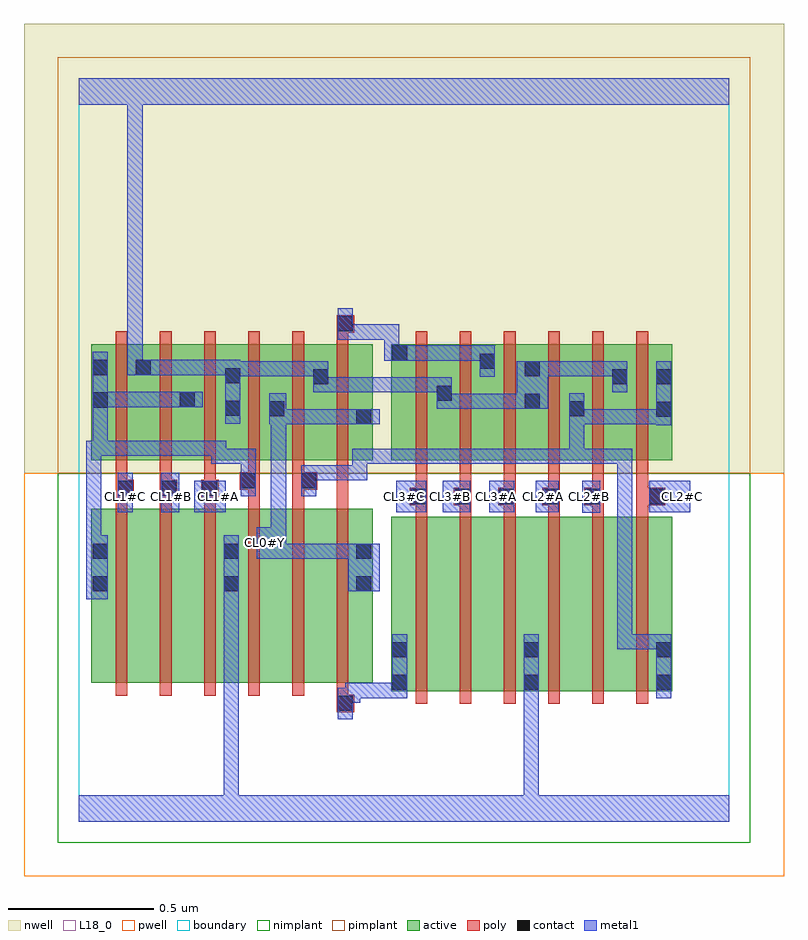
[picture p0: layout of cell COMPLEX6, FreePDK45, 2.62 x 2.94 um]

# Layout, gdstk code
import gdstk
lib = gdstk.Library(unit=1e-6, precision=1e-09)
def R(c, l, rs):  # rectangles x0, y0, x1, y1
    for r in rs: c.add(gdstk.rectangle(r[:2], r[2:], *l))
def A(c, l, x, y, w, h, nx, ny, dx, dy):  # array of equal rectangles
    R(c, l, [(x+i*dx, y+j*dy, x+i*dx+w, y+j*dy+h) for i in range(nx) for j in range(ny)])
active = (1, 0)
pwell = (2, 0)
nwell = (3, 0)
nimplant = (4, 0)
pimplant = (5, 0)
poly = (9, 0)
contact = (10, 0)
metal1 = (11, 0)
L18_0 = (18, 0)
boundary = (235, 0)

complex6 = lib.new_cell('COMPLEX6')
A(complex6, active, 0.5, 1.244, 0.06, 0.4, 3, 1, 0.152, 0)
R(complex6, active, [(1.076,0.45,1.136,1.05), (1.076,0.45,1.256,1.05), (1.256,0.45,1.408,1.05), (1.408,0.45,1.588,1.05), (1.528,0.45,1.588,1.05), (1.528,0.45,1.712,1.05), (1.712,0.45,1.864,1.05), (1.864,0.45,2.044,1.05), (1.984,0.45,2.044,1.05), (0.044,0.478,0.104,1.078), (0.044,0.478,0.224,1.078), (0.224,0.478,0.376,1.078), (0.376,0.478,0.556,1.078), (0.496,0.478,0.68,1.078), (0.496,0.478,0.556,0.962), (0.68,0.478,0.832,1.078), (0.832,0.478,1.012,1.078), (0.952,0.478,1.012,1.078), (0.044,1.244,0.104,1.644), (0.044,1.244,0.252,1.644), (0.192,1.244,0.252,1.644), (0.192,1.244,0.404,1.644), (0.344,1.244,0.404,1.644), (0.344,1.244,0.56,1.644), (0.5,1.244,0.712,1.644), (0.652,1.244,0.864,1.644), (0.804,1.244,1.012,1.644), (0.952,1.244,1.012,1.644), (1.076,1.244,1.288,1.644), (1.228,1.244,1.288,1.644), (1.228,1.244,1.436,1.644), (1.376,1.244,1.436,1.644), (1.376,1.244,1.592,1.644), (1.532,1.244,1.592,1.644), (1.532,1.244,1.744,1.644), (1.684,1.244,1.892,1.644), (1.832,1.244,1.892,1.644), (1.832,1.244,2.044,1.644), (1.984,1.244,2.044,1.644), (1.684,1.392,1.744,1.644), (1.076,1.496,1.136,1.644)])
R(complex6, pwell, [(-0.188,-0.188,2.428,1.2)])
R(complex6, nwell, [(-0.188,1.2,2.428,2.748)])
R(complex6, nimplant, [(-0.072,-0.072,2.312,1.2)])
R(complex6, pimplant, [(-0.072,1.2,2.312,2.632)])
A(complex6, poly, 1.16, 0.406, 0.04, 0.688, 6, 1, 0.152, 0)
A(complex6, poly, 0.128, 0.434, 0.04, 0.688, 6, 1, 0.152, 0)
A(complex6, poly, 1.16, 1.054, 0.04, 0.076, 6, 1, 0.152, 0)
A(complex6, poly, 0.128, 1.082, 0.04, 0.076, 3, 1, 0.152, 0)
A(complex6, poly, 1.14, 1.09, 0.06, 0.06, 4, 1, 0.152, 0)
A(complex6, poly, 1.16, 1.11, 0.04, 0.13, 6, 1, 0.152, 0)
A(complex6, poly, 0.128, 1.138, 0.04, 0.102, 3, 1, 0.152, 0)
A(complex6, poly, 0.584, 1.164, 0.04, 0.076, 3, 1, 0.152, 0)
A(complex6, poly, 0.128, 1.2, 0.04, 0.488, 6, 1, 0.152, 0)
A(complex6, poly, 1.16, 1.2, 0.04, 0.488, 6, 1, 0.152, 0)
R(complex6, poly, [(0.888,0.378,0.948,0.438), (0.888,0.398,0.928,0.474), (0.584,1.082,0.624,1.184), (0.736,1.082,0.776,1.184), (0.888,1.082,0.928,1.204), (1.74,1.09,1.808,1.15), (1.92,1.09,1.96,1.13), (1.92,1.09,1.96,1.13), (1.92,1.09,2.02,1.15), (1.16,1.11,1.2,1.15), (1.16,1.11,1.2,1.15), (1.312,1.11,1.352,1.15), (1.312,1.11,1.352,1.15), (1.464,1.11,1.504,1.15), (1.464,1.11,1.504,1.15), (1.616,1.11,1.656,1.15), (1.616,1.11,1.656,1.15), (1.768,1.11,1.808,1.15), (1.768,1.11,1.808,1.15), (0.128,1.118,0.19,1.178), (0.28,1.118,0.34,1.178), (0.422,1.118,0.482,1.178), (0.128,1.138,0.168,1.178), (0.128,1.138,0.168,1.178), (0.28,1.138,0.32,1.178), (0.28,1.138,0.32,1.178), (0.432,1.138,0.472,1.178), (0.432,1.138,0.472,1.178), (0.554,1.144,0.624,1.204), (0.584,1.144,0.624,1.184), (0.584,1.144,0.624,1.184), (0.736,1.144,0.776,1.184), (0.736,1.144,0.776,1.184), (0.736,1.144,0.822,1.204), (0.888,1.164,0.928,1.204), (0.888,1.164,0.928,1.204), (0.888,1.164,0.928,1.204), (0.888,1.648,0.928,1.724), (0.888,1.684,0.948,1.744)])
A(complex6, contact, 1.144, 1.094, 0.052, 0.052, 4, 1, 0.152, 0)
R(complex6, contact, [(0.892,0.382,0.944,0.434), (1.08,0.454,1.132,0.506), (1.532,0.454,1.584,0.506), (1.988,0.454,2.04,0.506), (1.08,0.566,1.132,0.618), (1.532,0.566,1.584,0.618), (1.988,0.566,2.04,0.618), (0.048,0.794,0.1,0.846), (0.5,0.794,0.552,0.846), (0.956,0.794,1.008,0.846), (0.048,0.906,0.1,0.958), (0.5,0.906,0.552,0.958), (0.956,0.906,1.008,0.958), (1.744,1.094,1.796,1.146), (1.964,1.094,2.016,1.146), (0.134,1.122,0.186,1.174), (0.284,1.122,0.336,1.174), (0.426,1.122,0.478,1.174), (0.558,1.148,0.61,1.2), (0.766,1.148,0.818,1.2), (0.956,1.368,1.008,1.42), (1.988,1.394,2.04,1.446), (0.656,1.396,0.708,1.448), (1.688,1.396,1.74,1.448), (0.504,1.398,0.556,1.45), (1.536,1.422,1.588,1.474), (0.048,1.426,0.1,1.478), (0.348,1.428,0.4,1.48), (1.232,1.45,1.284,1.502), (0.808,1.506,0.86,1.558), (1.836,1.506,1.888,1.558), (1.988,1.506,2.04,1.558), (0.504,1.51,0.556,1.562), (1.536,1.534,1.588,1.586), (0.048,1.538,0.1,1.59), (0.196,1.538,0.248,1.59), (1.38,1.56,1.432,1.612), (1.08,1.588,1.132,1.64), (0.892,1.688,0.944,1.74)])
R(complex6, metal1, [(0,0,2.24,0.092), (0.5,0.04,0.552,0.092), (0.5,0.04,0.552,0.092), (0.5,0.04,0.552,0.818), (1.532,0.04,1.584,0.478), (0.892,0.354,0.944,0.462), (0.892,0.41,0.97,0.462), (0.918,0.41,0.97,0.462), (0.918,0.41,0.97,0.478), (0.918,0.426,0.97,0.478), (0.918,0.426,1.132,0.478), (1.08,0.426,1.132,0.646), (1.532,0.426,1.584,0.478), (1.532,0.426,1.584,0.478), (1.532,0.426,1.584,0.478), (1.532,0.426,1.584,0.478), (1.532,0.426,1.584,0.478), (1.532,0.426,1.584,0.478), (1.532,0.426,1.584,0.478), (1.532,0.426,1.584,0.478), (1.532,0.426,1.584,0.646), (1.988,0.426,2.04,0.646), (1.854,0.594,1.906,0.646), (1.854,0.594,2.04,0.646), (1.854,0.594,1.906,1.284), (1.988,0.594,2.04,0.646), (1.988,0.594,2.04,0.646), (1.988,0.594,2.04,0.646), (1.988,0.594,2.04,0.646), (0.026,0.766,0.1,0.986), (0.5,0.766,0.552,0.818), (0.5,0.766,0.552,0.818), (0.5,0.766,0.552,0.818), (0.5,0.766,0.552,0.818), (0.5,0.766,0.552,0.818), (0.5,0.766,0.552,0.818), (0.5,0.766,0.552,0.986), (0.928,0.794,1.036,0.958), (0.614,0.906,0.714,1.014), (0.662,0.906,0.834,0.958), (0.782,0.906,0.834,0.958), (0.782,0.906,0.834,0.958), (0.782,0.906,0.834,0.958), (0.782,0.906,0.98,0.958), (0.928,0.906,0.98,0.958), (0.928,0.906,0.98,0.958), (0.928,0.906,0.98,0.958), (0.928,0.906,0.98,0.958), (0.026,0.934,0.078,1.312), (0.662,0.962,0.714,1.42), (1.734,1.064,1.796,1.174), (0.134,1.066,0.186,1.202), (0.284,1.066,0.346,1.202), (0.398,1.066,0.506,1.174), (1.094,1.066,1.196,1.174), (1.254,1.066,1.348,1.174), (1.414,1.066,1.5,1.174), (1.574,1.066,1.652,1.174), (1.964,1.066,2.106,1.174), (0.558,1.12,0.61,1.284), (0.766,1.12,0.818,1.228), (0.766,1.176,0.83,1.228), (0.778,1.176,0.83,1.228), (0.778,1.176,0.994,1.228), (0.942,1.176,0.994,1.228), (0.942,1.176,0.994,1.228), (0.942,1.176,0.994,1.284), (0.456,1.232,0.61,1.284), (0.456,1.232,0.508,1.312), (0.942,1.232,1.174,1.284), (1.122,1.232,1.174,1.284), (1.122,1.232,1.174,1.284), (1.122,1.232,1.174,1.284), (1.122,1.232,1.322,1.284), (1.27,1.232,1.322,1.284), (1.27,1.232,1.322,1.284), (1.27,1.232,1.322,1.284), (1.27,1.232,1.45,1.284), (1.398,1.232,1.45,1.284), (1.398,1.232,1.45,1.284), (1.398,1.232,1.45,1.284), (1.398,1.232,1.63,1.284), (1.578,1.232,1.63,1.284), (1.578,1.232,1.63,1.284), (1.578,1.232,1.63,1.284), (1.578,1.232,1.74,1.284), (1.688,1.232,1.74,1.284), (1.688,1.232,1.74,1.284), (1.688,1.232,1.74,1.284), (1.688,1.232,1.906,1.284), (1.688,1.232,1.74,1.42), (1.854,1.232,1.906,1.284), (0.026,1.26,0.078,1.312), (0.026,1.26,0.078,1.312), (0.026,1.26,0.1,1.312), (0.048,1.26,0.1,1.312), (0.048,1.26,0.1,1.312), (0.048,1.26,0.262,1.312), (0.048,1.26,0.1,1.45), (0.21,1.26,0.262,1.312), (0.21,1.26,0.262,1.312), (0.21,1.26,0.262,1.312), (0.21,1.26,0.398,1.312), (0.346,1.26,0.398,1.312), (0.346,1.26,0.5,1.312), (0.448,1.26,0.5,1.312), (0.448,1.26,0.508,1.312), (1.988,1.366,2.04,1.586), (0.656,1.368,0.714,1.476), (0.662,1.368,0.714,1.42), (0.662,1.368,0.714,1.42), (0.662,1.368,0.834,1.42), (0.782,1.368,0.834,1.42), (0.782,1.368,0.834,1.42), (0.782,1.368,0.834,1.42), (0.782,1.368,0.98,1.42), (0.928,1.368,0.98,1.42), (0.928,1.368,0.98,1.42), (0.928,1.368,1.036,1.42), (1.688,1.368,1.74,1.476), (1.688,1.368,1.85,1.42), (1.798,1.368,1.85,1.42), (1.798,1.368,1.85,1.42), (1.798,1.368,1.85,1.42), (1.798,1.368,2.04,1.42), (1.988,1.368,2.04,1.42), (1.988,1.368,2.04,1.42), (0.504,1.37,0.556,1.59), (0.048,1.398,0.1,1.618), (1.232,1.422,1.284,1.474), (1.232,1.422,1.284,1.474), (1.232,1.422,1.284,1.53), (1.232,1.422,1.45,1.474), (1.398,1.422,1.45,1.474), (1.398,1.422,1.45,1.474), (1.398,1.422,1.45,1.474), (1.398,1.422,1.56,1.474), (1.508,1.422,1.616,1.586), (0.048,1.428,0.1,1.48), (0.048,1.428,0.1,1.48), (0.048,1.428,0.262,1.48), (0.21,1.428,0.262,1.48), (0.21,1.428,0.262,1.48), (0.21,1.428,0.262,1.48), (0.21,1.428,0.372,1.48), (0.32,1.428,0.428,1.48), (0.808,1.478,0.86,1.586), (0.808,1.478,0.97,1.53), (0.918,1.478,0.97,1.53), (0.918,1.478,0.97,1.53), (0.918,1.478,0.97,1.53), (0.918,1.478,1.174,1.53), (1.122,1.478,1.174,1.53), (1.122,1.478,1.174,1.53), (1.122,1.478,1.174,1.53), (1.122,1.478,1.174,1.53), (1.122,1.478,1.174,1.53), (1.122,1.478,1.284,1.53), (1.836,1.478,1.888,1.586), (1.38,1.532,1.432,1.64), (0.504,1.534,0.61,1.586), (0.558,1.534,0.61,1.586), (0.558,1.534,0.72,1.586), (0.668,1.534,0.72,1.586), (0.668,1.534,0.72,1.586), (0.668,1.534,0.72,1.586), (0.668,1.534,0.86,1.586), (1.564,1.534,1.616,1.586), (1.564,1.534,1.616,1.586), (1.564,1.534,1.616,1.586), (1.564,1.534,1.616,1.586), (1.564,1.534,1.74,1.586), (1.688,1.534,1.74,1.586), (1.688,1.534,1.888,1.586), (1.836,1.534,1.888,1.586), (1.836,1.534,1.888,1.586), (0.168,1.538,0.22,1.59), (0.168,1.538,0.22,1.59), (0.168,1.538,0.22,1.59), (0.168,1.538,0.22,1.59), (0.168,1.538,0.22,1.59), (0.168,1.538,0.22,1.59), (0.168,1.538,0.22,1.59), (0.168,1.538,0.22,1.59), (0.168,1.538,0.22,1.59), (0.168,1.538,0.22,1.59), (0.168,1.538,0.22,1.59), (0.168,1.538,0.22,1.59), (0.168,1.538,0.276,1.59), (0.168,1.538,0.22,2.52), (0.21,1.538,0.262,1.59), (0.21,1.538,0.262,1.59), (0.21,1.538,0.262,1.59), (0.21,1.538,0.262,1.59), (0.21,1.538,0.262,1.59), (0.21,1.538,0.262,1.59), (0.21,1.538,0.398,1.59), (0.346,1.538,0.398,1.59), (0.346,1.538,0.398,1.59), (0.346,1.538,0.398,1.59), (0.346,1.538,0.556,1.59), (1.052,1.588,1.104,1.712), (1.052,1.588,1.16,1.64), (1.108,1.588,1.16,1.64), (1.108,1.588,1.16,1.64), (1.108,1.588,1.322,1.64), (1.27,1.588,1.322,1.64), (1.27,1.588,1.322,1.64), (1.27,1.588,1.322,1.64), (1.27,1.588,1.432,1.64), (0.892,1.66,0.944,1.768), (0.892,1.66,0.97,1.712), (0.918,1.66,0.97,1.712), (0.918,1.66,1.104,1.712), (1.052,1.66,1.104,1.712), (0,2.468,2.24,2.56), (0.168,2.468,0.22,2.52), (0.168,2.468,0.22,2.52), (0.168,2.468,0.22,2.52), (0.168,2.468,0.22,2.52)])
A(complex6, L18_0, 0.134, 1.094, 0.052, 0.052, 3, 1, 0.16, 0)
A(complex6, L18_0, 1.094, 1.094, 0.052, 0.052, 5, 1, 0.16, 0)
R(complex6, L18_0, [(0,0,2.24,0.092), (0.5,0.04,0.552,0.092), (0.5,0.04,0.552,0.092), (0.5,0.04,0.552,0.818), (1.532,0.04,1.584,0.478), (1.532,0.426,1.584,0.478), (1.532,0.426,1.584,0.478), (1.532,0.426,1.584,0.478), (1.532,0.426,1.584,0.478), (1.532,0.426,1.584,0.478), (1.532,0.426,1.584,0.478), (1.532,0.426,1.584,0.478), (1.532,0.426,1.584,0.478), (1.532,0.426,1.584,0.646), (0.5,0.766,0.552,0.818), (0.5,0.766,0.552,0.818), (0.5,0.766,0.552,0.818), (0.5,0.766,0.552,0.818), (0.5,0.766,0.552,0.818), (0.5,0.766,0.552,0.818), (0.5,0.766,0.552,0.986), (0.928,0.794,1.036,0.958), (0.614,0.906,0.714,1.014), (0.662,0.906,0.834,0.958), (0.782,0.906,0.834,0.958), (0.782,0.906,0.834,0.958), (0.782,0.906,0.834,0.958), (0.782,0.906,0.98,0.958), (0.928,0.906,0.98,0.958), (0.928,0.906,0.98,0.958), (0.928,0.906,0.98,0.958), (0.928,0.906,0.98,0.958), (0.614,0.934,0.666,0.986), (0.662,0.962,0.714,1.42), (1.734,1.064,1.796,1.174), (0.134,1.066,0.186,1.202), (0.284,1.066,0.346,1.202), (0.398,1.066,0.506,1.174), (1.094,1.066,1.196,1.174), (1.254,1.066,1.348,1.174), (1.414,1.066,1.5,1.174), (1.574,1.066,1.652,1.174), (1.964,1.066,2.106,1.174), (2.054,1.094,2.106,1.146), (0.656,1.368,0.714,1.476), (0.662,1.368,0.714,1.42), (0.662,1.368,0.714,1.42), (0.662,1.368,0.834,1.42), (0.782,1.368,0.834,1.42), (0.782,1.368,0.834,1.42), (0.782,1.368,0.834,1.42), (0.782,1.368,0.98,1.42), (0.928,1.368,0.98,1.42), (0.928,1.368,0.98,1.42), (0.928,1.368,1.036,1.42), (0.504,1.37,0.556,1.59), (1.232,1.422,1.284,1.474), (1.232,1.422,1.284,1.474), (1.232,1.422,1.284,1.53), (1.232,1.422,1.45,1.474), (1.398,1.422,1.45,1.474), (1.398,1.422,1.45,1.474), (1.398,1.422,1.45,1.474), (1.398,1.422,1.56,1.474), (1.508,1.422,1.616,1.586), (0.808,1.478,0.97,1.53), (0.808,1.478,0.86,1.586), (0.918,1.478,0.97,1.53), (0.918,1.478,0.97,1.53), (0.918,1.478,0.97,1.53), (0.918,1.478,1.174,1.53), (1.122,1.478,1.174,1.53), (1.122,1.478,1.174,1.53), (1.122,1.478,1.174,1.53), (1.122,1.478,1.174,1.53), (1.122,1.478,1.174,1.53), (1.122,1.478,1.284,1.53), (1.836,1.478,1.888,1.586), (0.504,1.534,0.61,1.586), (0.558,1.534,0.61,1.586), (0.558,1.534,0.72,1.586), (0.668,1.534,0.72,1.586), (0.668,1.534,0.72,1.586), (0.668,1.534,0.72,1.586), (0.668,1.534,0.86,1.586), (1.564,1.534,1.616,1.586), (1.564,1.534,1.616,1.586), (1.564,1.534,1.616,1.586), (1.564,1.534,1.616,1.586), (1.564,1.534,1.74,1.586), (1.688,1.534,1.74,1.586), (1.688,1.534,1.888,1.586), (1.836,1.534,1.888,1.586), (1.836,1.534,1.888,1.586), (0.168,1.538,0.22,1.59), (0.168,1.538,0.22,1.59), (0.168,1.538,0.22,1.59), (0.168,1.538,0.22,1.59), (0.168,1.538,0.22,1.59), (0.168,1.538,0.22,1.59), (0.168,1.538,0.22,1.59), (0.168,1.538,0.22,1.59), (0.168,1.538,0.22,1.59), (0.168,1.538,0.22,1.59), (0.168,1.538,0.22,1.59), (0.168,1.538,0.22,1.59), (0.168,1.538,0.276,1.59), (0.168,1.538,0.22,2.52), (0.21,1.538,0.262,1.59), (0.21,1.538,0.262,1.59), (0.21,1.538,0.262,1.59), (0.21,1.538,0.262,1.59), (0.21,1.538,0.262,1.59), (0.21,1.538,0.262,1.59), (0.21,1.538,0.398,1.59), (0.346,1.538,0.398,1.59), (0.346,1.538,0.398,1.59), (0.346,1.538,0.398,1.59), (0.346,1.538,0.556,1.59), (0,2.468,2.24,2.56), (0.168,2.468,0.22,2.52), (0.168,2.468,0.22,2.52), (0.168,2.468,0.22,2.52), (0.168,2.468,0.22,2.52)])
R(complex6, boundary, [(0,0,2.24,2.56)])
complex6.add(gdstk.Label('CL0#Y', (0.64,0.96), layer=11, texttype=0))
complex6.add(gdstk.Label('CL1#A', (0.48,1.12), layer=11, texttype=0))
complex6.add(gdstk.Label('CL1#B', (0.32,1.12), layer=11, texttype=0))
complex6.add(gdstk.Label('CL1#C', (0.16,1.12), layer=11, texttype=0))
complex6.add(gdstk.Label('CL2#A', (1.6,1.12), layer=11, texttype=0))
complex6.add(gdstk.Label('CL2#B', (1.76,1.12), layer=11, texttype=0))
complex6.add(gdstk.Label('CL2#C', (2.08,1.12), layer=11, texttype=0))
complex6.add(gdstk.Label('CL3#A', (1.44,1.12), layer=11, texttype=0))
complex6.add(gdstk.Label('CL3#B', (1.28,1.12), layer=11, texttype=0))
complex6.add(gdstk.Label('CL3#C', (1.12,1.12), layer=11, texttype=0))

lib.write_gds('COMPLEX6.gds')
